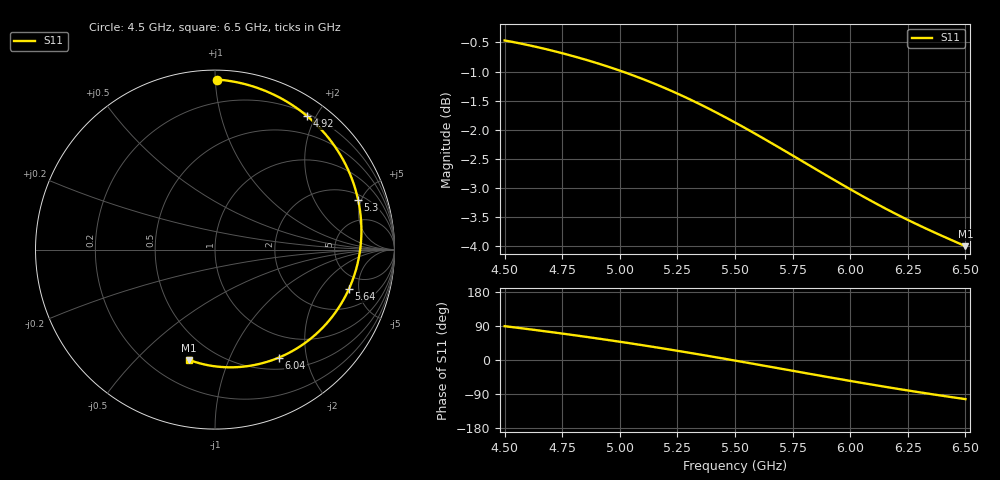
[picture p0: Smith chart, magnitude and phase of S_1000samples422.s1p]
! TOUCHSTONE file generated by CST MICROWAVE STUDIO
! Date and time: Fri Oct 28 03:09:51 2022
! Project name: L.cst
! Parameters = {Di=1.27; Epsilon_r=1.56; InnerDiameter=1.27; Length=2; Lf=10; Lg=60; OuterConductorThickness=0.2921; OuterDiameter=3.6; Wf=3; Wp=41.2; de=1.5; df=6.8; g=0.8; gx=1.25851; gy=3.28377; h=2.34; hf=1.524; px=8.57088; py=9.31867; w=9.7; wx=7.31237; wy=6.0349}
! Header version: 2018
! Port assignment regex: !\s*Touchstone port\s*([0-9]+)\s*=\s*(CST MWS port|CST DS port)\s*([0-9]+|Zmin|Zmax)\s*\(\"(.*)\"\)(\s*mode\s*([0-9]+))?.*
! Touchstone port assignment:
! Touchstone port 1 = CST MWS port 1 ("")
# GHz S DB R 50
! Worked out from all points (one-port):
!   101 points, 4.5 GHz to 6.5 GHz, reference 50 ohm
!   lowest |S11| = -4.0 dB at 6.5 GHz (marker M1), VSWR 4.42, Z = 17.8 - j36.4 ohm
!   |S11| at or under -10 dB: nowhere
!   S11 on the Smith chart (normalised r, x): 4.5 GHz: 0.05, +1.01; 4.92 GHz: 0.23, +1.89; 5.3 GHz: 2.41, +4.69; 5.64 GHz: 3.47, -3.89; 6.04 GHz: 0.66, -1.55; 6.5 GHz: 0.36, -0.73
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4.5  -0.47 89.2
4.58  -0.53 83.2
4.64  -0.58 78.6
4.76  -0.70 68.9
4.84  -0.78 62.2
4.92  -0.88 55.3
5  -0.98 48.2
5.08  -1.10 40.8
5.14  -1.19 35.1
5.2  -1.29 29.3
5.26  -1.40 23.3
5.3  -1.47 19.3
5.4  -1.66 9.0
5.5  -1.87 -1.5
5.56  -2.01 -7.9
5.64  -2.19 -16.5
5.7  -2.32 -23.0
5.76  -2.46 -29.5
5.82  -2.60 -36.0
5.88  -2.74 -42.5
5.94  -2.88 -48.8
6  -3.02 -55.2
6.04  -3.11 -59.3
6.14  -3.32 -69.5
6.2  -3.45 -75.5
6.26  -3.57 -81.3
6.38  -3.79 -92.6
6.5  -4.00 -103.2
